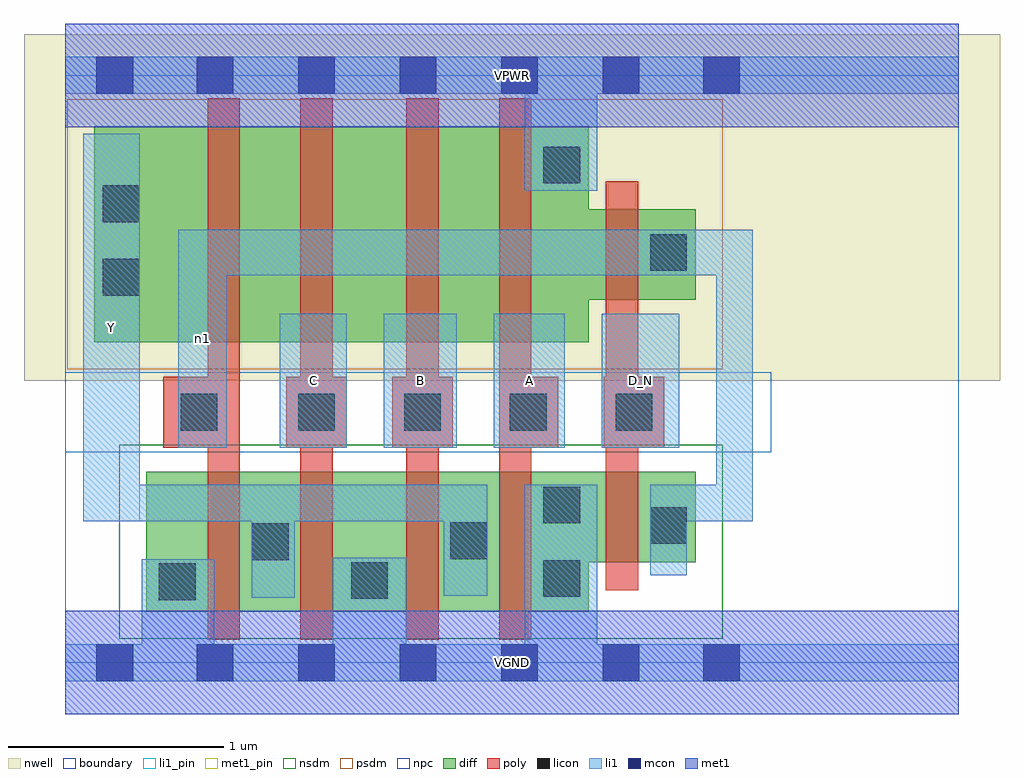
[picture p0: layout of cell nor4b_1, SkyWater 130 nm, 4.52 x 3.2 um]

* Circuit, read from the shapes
.subckt nor4b_1 A B C D_N VGND VPWR Y n1
XM1 Y n1 VGND VSUBS sky130_fd_pr__nfet_01v8 w=0.65 l=0.15
XM2 VGND C Y VSUBS sky130_fd_pr__nfet_01v8 w=0.65 l=0.15
XM3 Y B VGND VSUBS sky130_fd_pr__nfet_01v8 w=0.65 l=0.15
XM4 VGND A Y VSUBS sky130_fd_pr__nfet_01v8 w=0.65 l=0.15
XM5 n1 D_N VGND VSUBS sky130_fd_pr__nfet_01v8 w=0.42 l=0.15
XM6 n2 n1 Y n3 sky130_fd_pr__pfet_01v8 w=1 l=0.15
XM7 n4 C n2 n3 sky130_fd_pr__pfet_01v8 w=1 l=0.15
XM8 n5 B n4 n3 sky130_fd_pr__pfet_01v8 w=1 l=0.15
XM9 VPWR A n5 n3 sky130_fd_pr__pfet_01v8 w=1 l=0.15
XM10 n1 D_N VPWR n3 sky130_fd_pr__pfet_01v8 w=0.42 l=0.15
.ends

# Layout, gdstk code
import gdstk
lib = gdstk.Library(unit=1e-6, precision=1e-09)
def R(c, l, rs):  # rectangles x0, y0, x1, y1
    for r in rs: c.add(gdstk.rectangle(r[:2], r[2:], *l))
def A(c, l, x, y, w, h, nx, ny, dx, dy):  # array of equal rectangles
    R(c, l, [(x+i*dx, y+j*dy, x+i*dx+w, y+j*dy+h) for i in range(nx) for j in range(ny)])
nwell = (64, 20)
diff = (65, 20)
poly = (66, 20)
licon = (66, 44)
li1_pin = (67, 16)
li1 = (67, 20)
mcon = (67, 44)
met1_pin = (68, 16)
met1 = (68, 20)
nsdm = (93, 44)
psdm = (94, 20)
npc = (95, 20)
boundary = (235, 4)

nor4b_1 = lib.new_cell('nor4b_1')
R(nor4b_1, nwell, [(-0.19,1.305,4.33,2.91), (0,1.305,4.14,2.91)])
R(nor4b_1, diff, [(0.375,0.235,2.425,0.885), (0.375,0.465,2.92,0.885), (0.135,1.485,2.425,2.485), (0.135,1.68,2.92,2.1)])
R(nor4b_1, poly, [(0.66,0.105,0.81,2.615), (1.09,0.105,1.24,2.615), (1.58,0.105,1.73,2.615), (2.01,0.105,2.16,2.615), (2.505,0.335,2.655,2.23), (0.455,0.995,0.81,1.325), (1.025,0.995,1.305,1.325), (1.515,0.995,1.795,1.325), (2.01,0.995,2.285,1.325), (2.495,0.995,2.775,1.325)])
A(nor4b_1, licon, 1.08, 1.075, 0.17, 0.17, 4, 1, 0.49, 0)
R(nor4b_1, licon, [(0.435,0.29,0.605,0.46), (1.325,0.295,1.495,0.465), (2.215,0.305,2.385,0.475), (0.865,0.475,1.035,0.645), (1.785,0.48,1.955,0.65), (2.71,0.55,2.88,0.72), (2.215,0.645,2.385,0.815), (0.535,1.075,0.705,1.245), (0.175,1.7,0.345,1.87), (2.71,1.815,2.88,1.985), (0.175,2.04,0.345,2.21), (2.215,2.22,2.385,2.39)])
R(nor4b_1, li1_pin, [(0.085,0.655,0.345,2.45), (0.995,0.995,1.305,1.615), (1.475,0.995,1.815,1.615), (1.985,0.995,2.315,1.615), (2.485,0.995,2.845,1.615)])
R(nor4b_1, li1, [(0,-0.085,4.14,0.085), (0.355,-0.085,0.69,0.48), (1.24,-0.085,1.58,0.485), (2.13,-0.085,2.465,0.825), (0.865,0.3,1.065,0.825), (1.755,0.31,1.955,0.825), (2.71,0.405,2.88,0.825), (0.085,0.655,0.345,2.45), (0.085,0.655,1.955,0.825), (2.71,0.655,3.185,0.825), (3.015,0.655,3.185,2.005), (0.525,0.995,0.75,2.005), (0.995,0.995,1.305,1.615), (1.475,0.995,1.815,1.615), (1.985,0.995,2.315,1.615), (2.485,0.995,2.845,1.615), (0.525,1.795,3.185,2.005), (2.13,2.185,2.465,2.805), (0,2.635,4.14,2.805)])
A(nor4b_1, mcon, 0.61, -0.085, 0.17, 0.17, 5, 2, 0.47, 2.72)
R(nor4b_1, mcon, [(0.145,-0.085,0.315,0.085), (2.955,-0.085,3.125,0.085), (0.145,2.635,0.315,2.805), (2.955,2.635,3.125,2.805)])
R(nor4b_1, met1_pin, [(0,-0.24,4.14,0.24), (0,2.48,4.14,2.96)])
R(nor4b_1, met1, [(0,-0.24,4.14,0.24), (0,2.48,4.14,2.96)])
R(nor4b_1, nsdm, [(0.25,0.11,3.045,1.01)])
R(nor4b_1, psdm, [(0.01,1.36,3.045,2.61)])
R(nor4b_1, npc, [(0,0.975,3.27,1.345)])
R(nor4b_1, boundary, [(0,0,4.14,2.72)])
nor4b_1.add(gdstk.Label('A', (2.15,1.305), layer=67, texttype=5))
nor4b_1.add(gdstk.Label('B', (1.645,1.305), layer=67, texttype=5))
nor4b_1.add(gdstk.Label('C', (1.15,1.305), layer=67, texttype=5))
nor4b_1.add(gdstk.Label('D_N', (2.665,1.305), layer=67, texttype=5))
nor4b_1.add(gdstk.Label('Y', (0.215,1.552), layer=67, texttype=5))
nor4b_1.add(gdstk.Label('n1', (0.637,1.5), layer=67, texttype=5))
nor4b_1.add(gdstk.Label('VPWR', (2.07,2.72), layer=68, texttype=5))
nor4b_1.add(gdstk.Label('VGND', (2.07,0), layer=68, texttype=5))
nor4b_1.add(gdstk.Label('A', (2.15,1.305), layer=67, texttype=16))
nor4b_1.add(gdstk.Label('B', (1.645,1.305), layer=67, texttype=16))
nor4b_1.add(gdstk.Label('C', (1.15,1.305), layer=67, texttype=16))
nor4b_1.add(gdstk.Label('D_N', (2.665,1.305), layer=67, texttype=16))
nor4b_1.add(gdstk.Label('Y', (0.215,1.552), layer=67, texttype=16))
nor4b_1.add(gdstk.Label('VPWR', (2.07,2.72), layer=68, texttype=16))
nor4b_1.add(gdstk.Label('VGND', (2.07,0), layer=68, texttype=16))

lib.write_gds('nor4b_1.gds')
